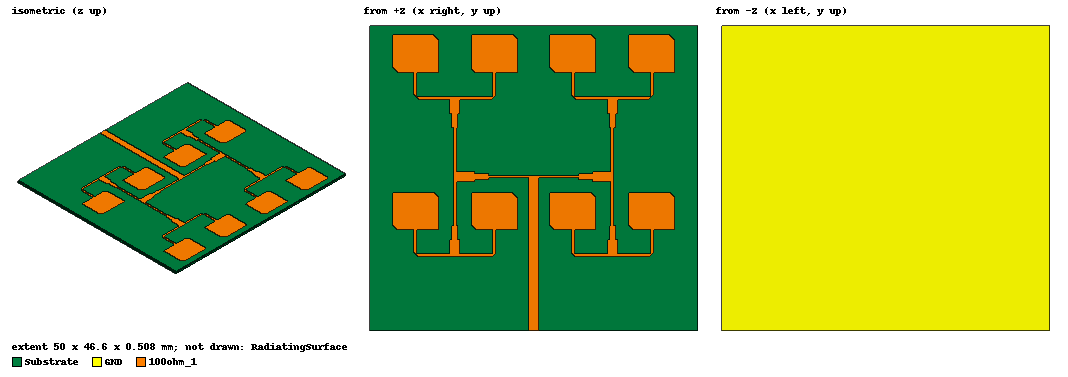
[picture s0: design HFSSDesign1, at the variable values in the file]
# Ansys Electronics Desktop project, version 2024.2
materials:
  vacuum: permittivity=1
  Rogers RT/duroid 5880 (tm): permittivity=2.2 dielectric_loss_tangent=0.0009

design HFSSDesign1 (HFSS, HFSS Terminal Network, model units mm)
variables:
  Lg = 11.67mm
  Wg = 24.61mm
  Hs = 0.508mm
  Ls = 11.67mm
  Ws = 24.61mm
  Wf = 1.565mm
  Lf = 2.2mm
  Lp = 5.647mm  # tune 2.8235mm..8.4705mm
  Wp = 6.97mm  # tune 3.485mm..10.455mm
  dL = 0.697mm
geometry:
  50ohm = rectangle(corner=(11.67mm/2 - 2.2mm, -1.565mm/2, 0.508mm), x_size=2.2mm, y_size=1.565mm)
  100ohm_1 = rectangle(corner=(11.67mm/2 - Lf - 0.455mm, -11.545mm/2, 0.508mm), x_size=0.455mm, y_size=11.545mm)
  Feedline_1 = rectangle(corner=(3.635mm, -0.455mm-11.545mm/2, 0.508mm), x_size=-4.135mm, y_size=0.455mm)
  Feedline_2 = rectangle(corner=(3.635mm, 11.545mm/2, 0.508mm), x_size=-4.135mm, y_size=0.455mm)
  [50ohm, 100ohm_1, Feedline_1, Feedline_2].rotate(axis=Z, angle=270deg)
  70ohm = rectangle(corner=((0-0.9/2) mm, -5.835mm, 0.508mm), x_size=0.9mm, y_size=-2.14mm)
  100ohm_3 = rectangle(corner=((0-0.455/2) mm, -7.975mm, 0.508mm), x_size=0.455mm, y_size=-14.9mm)
  70ohm1 = rectangle(corner=((0-0.9/2) mm, (-5.835-10.9-2.14) mm, 0.508mm), x_size=0.9mm, y_size=-2.14mm)
  50ohm_2 = rectangle(corner=(11.67mm/2 + 2.2mm + 2.14mm + 10.9mm, -1.565mm/2, 0.508mm), x_size=2.2mm, y_size=1.565mm)
  50ohm_2.rotate(axis=Z, angle=270deg)
  50ohm_2.move(0mm, 0.06mm, 0mm)
  100ohm_2 = rectangle(corner=(11.67mm/2 - Lf - 0.455mm, -11.545mm/2, 0.508mm), x_size=0.455mm, y_size=11.545mm)
  100ohm_2.rotate(axis=Z, angle=270deg)
  100ohm_2.move(0mm, -20.065mm, -0.008mm)
  100ohm_2.move(0mm, 0.03mm, 0.008mm)
  Feedline_3 = rectangle(corner=(3.635mm, -0.455mm-11.545mm/2, 0.508mm), x_size=-4.135mm, y_size=0.455mm)
  Feedline_3.rotate(axis=Z, angle=270deg)
  Feedline_4 = rectangle(corner=(3.635mm, 11.545mm/2, 0.508mm), x_size=-4.135mm, y_size=0.455mm)
  Feedline_4.rotate(axis=Z, angle=270deg)
  [Feedline_3, Feedline_4].move(-0.1725mm, -19.965mm, 0.092mm)
  [Feedline_3, Feedline_4].move(0.1725mm, -0.07mm, -0.092mm)
  [50ohm, 100ohm_1, Feedline_1, Feedline_2, 70ohm, 100ohm_3, 70ohm1, 50ohm_2, 100ohm_2, Feedline_3, Feedline_4].move(-0.2275mm, 13.425mm, -0.508mm)
  50ohm_H1 = rectangle(corner=(0mm, (0+1.565/2) mm, 0mm), x_size=2.8mm, y_size=-1.565mm)
  70ohm_H1 = rectangle(corner=((0+2.8) mm, (0+0.9/2) mm, 0mm), x_size=2.14mm, y_size=-0.9mm)
  100ohm_H = rectangle(corner=(4.94mm, (0+0.455/2) mm, 0mm), x_size=13.65mm, y_size=-0.455mm)
  70ohm_H2 = rectangle(corner=((0+2.8) mm, (0+0.9/2) mm, 0mm), x_size=2.14mm, y_size=-0.9mm)
  70ohm_H2.move(15.86mm, 0.0275mm, 0mm)
  70ohm_H2.move(-0.07mm, -0.0275mm, 0mm)
  50ohm_H2 = rectangle(corner=(0mm, (0+1.565/2) mm, 0mm), x_size=2.8mm, y_size=-1.565mm)
  50ohm_H2.move(20.8mm, -0.05mm, 0mm)
  50ohm_H2.move(-0.07mm, 0.05mm, 0mm)
  [50ohm, 100ohm_1, Feedline_1, Feedline_2, 70ohm, 100ohm_3, 70ohm1, 50ohm_2, 100ohm_2, Feedline_3, Feedline_4, 50ohm_H1, 70ohm_H1, 100ohm_H, 70ohm_H2, 50ohm_H2].move(-11.765mm, 0.2275mm, 0mm)
  50ohm_Main = rectangle(corner=((0-1.565/2) mm, 0mm, 0mm), x_size=1.565mm, y_size=-23.3mm)
  Substrate [Rogers RT/duroid 5880 (tm)] = box(corner=(-25mm, -23.3mm, 0mm), size=(50mm, 46.6mm, -0.508mm))
  P1 = rectangle(corner=(-0.7825mm, -23.3mm, 0mm), z_size=-0.508mm, x_size=1.565mm)
  [100ohm_2, 50ohm_2, 70ohm1, Feedline_3, Feedline_4].move(0mm, -4mm, 0mm)
  50ohm_3 = 50ohm.duplicate_along_line(step=(24mm, 0mm, 0mm), total=2)
  50ohm.delete()
  100ohm_1_1 = 100ohm_1.duplicate_along_line(step=(24mm, 0mm, 0mm), total=2)
  100ohm_2_1 = 100ohm_2.duplicate_along_line(step=(24mm, 0mm, 0mm), total=2)
  100ohm_3_1 = 100ohm_3.duplicate_along_line(step=(24mm, 0mm, 0mm), total=2)
  70ohm_1 = 70ohm.duplicate_along_line(step=(24mm, 0mm, 0mm), total=2)
  70ohm1_1 = 70ohm1.duplicate_along_line(step=(24mm, 0mm, 0mm), total=2)
  50ohm_4 = 50ohm_2.duplicate_along_line(step=(24mm, 0mm, 0mm), total=2)
  Feedline_1_1 = Feedline_1.duplicate_along_line(step=(24mm, 0mm, 0mm), total=2)
  Feedline_2_1 = Feedline_2.duplicate_along_line(step=(24mm, 0mm, 0mm), total=2)
  Feedline_3_1 = Feedline_3.duplicate_along_line(step=(24mm, 0mm, 0mm), total=2)
  Feedline_4_1 = Feedline_4.duplicate_along_line(step=(24mm, 0mm, 0mm), total=2)
  50ohm_1 = rectangle(corner=(-11.9925mm, 10.0175mm, 0mm), x_size=1.565mm, y_size=2.2mm)
  50ohm_1.move(-0.7825mm, -2.2mm, 0mm)
  GND = rectangle(corner=(-25mm, -23.3mm, -0.508mm), x_size=50mm, y_size=46.6mm)
  [100ohm_1_1, 100ohm_2_1, 100ohm_3_1, 50ohm_3, 50ohm_4, 70ohm_1, 70ohm1_1, Feedline_1_1, Feedline_2_1, Feedline_3_1, Feedline_4_1].move(-0.015mm, 2mm, 0mm)
  [100ohm_3, 100ohm_1, 100ohm_2, 50ohm_1, 50ohm_2, 70ohm, 70ohm1, Feedline_1..Feedline_4].move(0mm, 2mm, 0mm)
  Polyline3 = polyline(z=0mm, xy in mm: (-17.565, 12.0175) (-18.22, 12.6725) (-18.22, 12.0175) (-17.565, 12.0175), closed, covered)
  Polyline3_1 = Polyline3.copy()
  100ohm_1.subtract(Polyline3_1)
  Polyline3_2 = Polyline3.copy()
  Polyline3.delete()
  Feedline_1.subtract(Polyline3_2)
  Polyline4 = polyline(z=0mm, xy in mm: (-5.765, 12.6725) (-6.42, 12.0175) (-5.765, 12.0175) (-5.765, 12.6725), closed, covered)
  Polyline4_1 = Polyline4.copy()
  100ohm_1.subtract(Polyline4_1)
  Polyline4_2 = Polyline4.copy()
  Polyline4.delete()
  Feedline_2.subtract(Polyline4_2)
  Polyline11 = polyline(z=0mm, xy in mm: (5.765, 12.6725) (6.42, 12.0175) (5.765, 12.0175) (5.765, 12.6725), closed, covered)
  Polyline12 = polyline(z=0mm, xy in mm: (18.22, 12.6725) (17.565, 12.0175) (18.22, 12.0175) (18.22, 12.6725), closed, covered)
  Polyline11_1 = Polyline11.copy()
  Polyline12_1 = Polyline12.copy()
  100ohm_1_1.subtract(Polyline11_1, Polyline12_1)
  Polyline11_2 = Polyline11.copy()
  Polyline12_2 = Polyline12.copy()
  Feedline_1_1.subtract(Polyline11_2, Polyline12_2)
  Polyline11_3 = Polyline11.copy()
  Polyline11.delete()
  Polyline12_3 = Polyline12.copy()
  Polyline12.delete()
  Feedline_2_1.subtract(Polyline11_3, Polyline12_3)
  Polyline13 = polyline(z=0mm, xy in mm: (-18.22, -11.3625) (-17.565, -12.0175) (-18.22, -12.0175) (-18.22, -11.3625), closed, covered)
  Polyline14 = polyline(z=0mm, xy in mm: (-5.765, -11.3625) (-6.42, -12.0175) (-5.765, -12.0175) (-5.765, -11.3625), closed, covered)
  Polyline13_1 = Polyline13.copy()
  Polyline14_1 = Polyline14.copy()
  100ohm_2.subtract(Polyline13_1, Polyline14_1)
  Polyline13_2 = Polyline13.copy()
  Polyline14_2 = Polyline14.copy()
  Feedline_3.subtract(Polyline13_2, Polyline14_2)
  Feedline_4.subtract(Polyline13, Polyline14)
  Polyline15 = polyline(z=0mm, xy in mm: (5.765, -11.3625) (6.42, -12.0175) (5.765, -12.0175) (5.765, -11.3625), closed, covered)
  Polyline16 = polyline(z=0mm, xy in mm: (18.22, -11.3625) (17.565, -12.0175) (18.22, -12.0175) (18.22, -11.3625), closed, covered)
  Polyline15_1 = Polyline15.copy()
  Polyline16_1 = Polyline16.copy()
  100ohm_2_1.subtract(Polyline15_1, Polyline16_1)
  Polyline15_2 = Polyline15.copy()
  Polyline16_2 = Polyline16.copy()
  Feedline_3_1.subtract(Polyline15_2, Polyline16_2)
  Feedline_4_1.subtract(Polyline15, Polyline16)
  RadiatingSurface [vacuum] = region(absolute_offset=5.8823529mm on all sides)
  Patch_1 = rectangle(corner=(-21.4775mm, 21.7995mm, 0mm), x_size=6.97mm, y_size=-5.647mm)
  Polyline17 = polyline(z=0mm, xy in mm: (-21.4775, 16.1525) (-21.4775, 16.8495) (-20.7805, 16.1525) (-21.4775, 16.1525), closed, covered)
  Polyline18 = polyline(z=0mm, xy in mm: (-14.5075, 21.7995) (-15.2045, 21.7995) (-14.5075, 21.1025) (-14.5075, 21.7995), closed, covered)
  Patch_1.subtract(Polyline17, Polyline18)
  Patch_2 = rectangle(corner=(-21.4775mm, 21.7995mm, 0mm), x_size=6.97mm, y_size=-5.647mm)
  Polyline19 = polyline(z=0mm, xy in mm: (-14.9955, 21.7995) (-14.5075, 21.3115) (-14.5075, 21.7995) (-14.9955, 21.7995), closed, covered)
  Polyline20 = polyline(z=0mm, xy in mm: (-21.4775, 16.1525) (-21.4775, 16.6405) (-20.9895, 16.1525) (-21.4775, 16.1525), closed, covered)
  Patch_2.subtract(Polyline19, Polyline20)
  Patch_2.move(12mm, -3.5527137e-15mm, 0mm)
  Patch_3 = rectangle(corner=(-21.4775mm, 21.7995mm, 0mm), x_size=6.97mm, y_size=-5.647mm)
  Polyline21 = polyline(z=0mm, xy in mm: (-21.4775, 16.1525) (-21.4775, 16.8495) (-20.7805, 16.1525) (-21.4775, 16.1525), closed, covered)
  Polyline22 = polyline(z=0mm, xy in mm: (-14.5075, 21.7995) (-15.2045, 21.7995) (-14.5075, 21.1025) (-14.5075, 21.7995), closed, covered)
  Patch_3.subtract(Polyline21, Polyline22)
  Patch_3.move(23.985mm, 0mm, 0mm)
  Patch_4 = rectangle(corner=(-21.4775mm, 21.7995mm, 0mm), x_size=6.97mm, y_size=-5.647mm)
  Polyline23 = polyline(z=0mm, xy in mm: (-21.4775, 16.1525) (-21.4775, 16.8495) (-20.7805, 16.1525) (-21.4775, 16.1525), closed, covered)
  Polyline24 = polyline(z=0mm, xy in mm: (-14.5075, 21.7995) (-15.2045, 21.7995) (-14.5075, 21.1025) (-14.5075, 21.7995), closed, covered)
  Patch_4.subtract(Polyline23, Polyline24)
  Patch_4.move(35.985mm, -3.5527137e-15mm, 0mm)
  Patch_5 = rectangle(corner=(-21.4775mm, 21.7995mm, 0mm), x_size=6.97mm, y_size=-5.647mm)
  Polyline25 = polyline(z=0mm, xy in mm: (-21.4775, 16.1525) (-21.4775, 16.8495) (-20.7805, 16.1525) (-21.4775, 16.1525), closed, covered)
  Polyline26 = polyline(z=0mm, xy in mm: (-14.5075, 21.7995) (-15.2045, 21.7995) (-14.5075, 21.1025) (-14.5075, 21.7995), closed, covered)
  Patch_5.subtract(Polyline25, Polyline26)
  Patch_5.move(-3.5527137e-15mm, -24.035mm, 0mm)
  Patch_6 = rectangle(corner=(-21.4775mm, 21.7995mm, 0mm), x_size=6.97mm, y_size=-5.647mm)
  Polyline27 = polyline(z=0mm, xy in mm: (-21.4775, 16.1525) (-21.4775, 16.8495) (-20.7805, 16.1525) (-21.4775, 16.1525), closed, covered)
  Polyline28 = polyline(z=0mm, xy in mm: (-14.5075, 21.7995) (-15.2045, 21.7995) (-14.5075, 21.1025) (-14.5075, 21.7995), closed, covered)
  Patch_6.subtract(Polyline27, Polyline28)
  Patch_6.move(12mm, -24.035mm, 0mm)
  Patch_7 = rectangle(corner=(-21.4775mm, 21.7995mm, 0mm), x_size=6.97mm, y_size=-5.647mm)
  Polyline29 = polyline(z=0mm, xy in mm: (-21.4775, 16.1525) (-21.4775, 16.8495) (-20.7805, 16.1525) (-21.4775, 16.1525), closed, covered)
  Polyline30 = polyline(z=0mm, xy in mm: (-14.5075, 21.7995) (-15.2045, 21.7995) (-14.5075, 21.1025) (-14.5075, 21.7995), closed, covered)
  Patch_7.subtract(Polyline29, Polyline30)
  Patch_7.move(23.985mm, -24.035mm, 0mm)
  Patch_8 = rectangle(corner=(-21.4775mm, 21.7995mm, 0mm), x_size=6.97mm, y_size=-5.647mm)
  Polyline31 = polyline(z=0mm, xy in mm: (-21.4775, 16.1525) (-21.4775, 16.8495) (-20.7805, 16.1525) (-21.4775, 16.1525), closed, covered)
  Polyline32 = polyline(z=0mm, xy in mm: (-14.5075, 21.7995) (-15.2045, 21.7995) (-14.5075, 21.1025) (-14.5075, 21.7995), closed, covered)
  Patch_8.subtract(Polyline31, Polyline32)
  Patch_8.move(35.985mm, -24.035mm, 0mm)
  100ohm_1.unite(100ohm_1_1, 100ohm_2, 100ohm_2_1, 100ohm_3, 100ohm_3_1, 100ohm_H, 50ohm_1..50ohm_4, 50ohm_H1, 50ohm_H2, 50ohm_Main, 70ohm, 70ohm_1, 70ohm_H1, 70ohm_H2, 70ohm1, 70ohm1_1, Feedline_1, Feedline_1_1, Feedline_2, Feedline_2_1, Feedline_3, Feedline_3_1, Feedline_4, Feedline_4_1, Patch_1..Patch_8)
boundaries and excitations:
  Open1: Radiation Objects=RadiatingSurface
  PerfE1: Perfect E Objects=[100ohm_1, GND]
  1: Lumped Port Objects=P1 LumpedPortType=Modal Modes{Mode1{IntLine{(0, -23.3, -0.508) -> (0, -23.3, 0)} CharImp=Zpi RenormImp=50ohm}} Impedance=50ohm
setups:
  Setup1: HfssDriven Frequency=17GHz MaxDeltaS=0.02 MaximumPasses=6 MinimumPasses=1 MinimumConvergedPasses=1 PercentRefinement=30 BasisOrder=1 PortAccuracy=2 DrivenSolverType="Direct Solver"
    sweep Sweep: 12GHz to 22GHz, 101 points; Type=Fast SaveFields
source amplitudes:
  1:1: 1V 0deg
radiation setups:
  3D: Infinite Sphere Theta=0deg..180deg step 2deg Phi=-180deg..180deg step 2deg
  Elevation: Infinite Sphere Theta=-180deg..180deg step 1deg Phi=0deg..90deg step 90deg
  Azimuth: Infinite Sphere Theta=90deg..90deg step 0deg Phi=-180deg..180deg step 1deg
  Infinite Sphere1: Infinite Sphere Theta=0deg..360deg step 5deg Phi=-180deg..180deg step 5deg
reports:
  Axial Ratio Plot 1: dB(AxialRatioValue) vs Freq on Setup1 : Sweep, Infinite Sphere1 [Phi=0deg Theta=0deg]; markers m1 at 20.5GHz, m2 at 20.2GHz
  S Parameter Plot 1: dB(S(1,1)) vs Freq on Setup1 : Sweep; markers m1 at 16.2GHz
